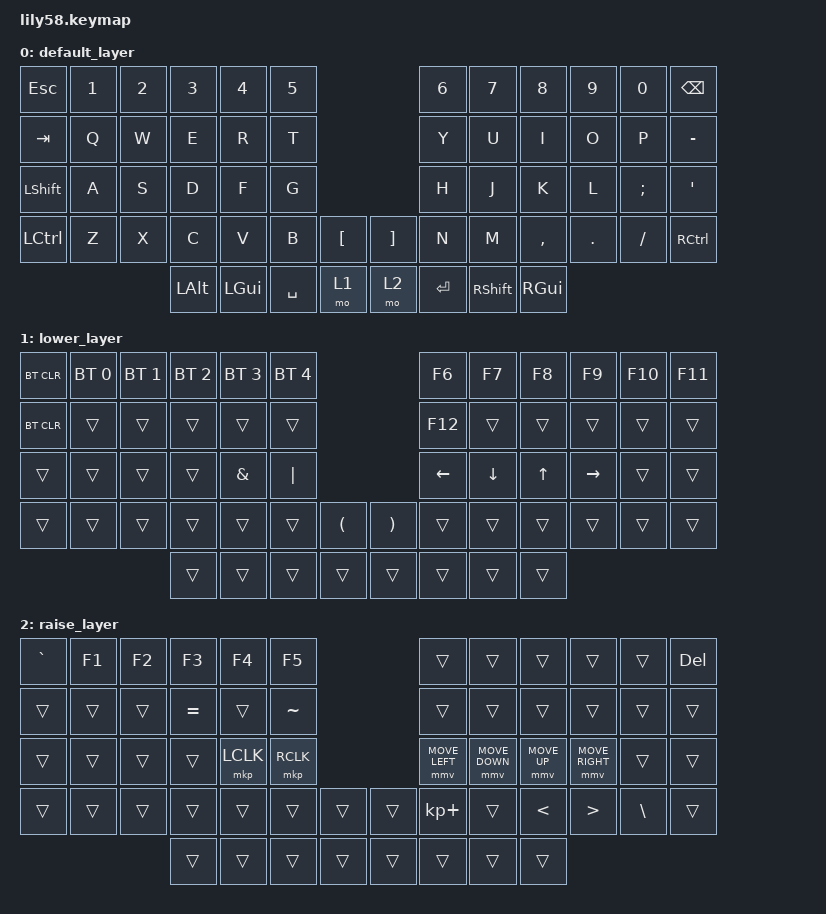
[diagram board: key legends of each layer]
#include <behaviors.dtsi>
#include <dt-bindings/zmk/bt.h>
#include <dt-bindings/zmk/keys.h>
#include <dt-bindings/zmk/pointing.h>

/ {
    combos {
        compatible = "zmk,combos";

        language_switch {
            bindings = <&lang_switch>;
            key-positions = <53 54>;
        };
    };

    macros {
        lang_switch: lang_switch {
            compatible = "zmk,behavior-macro";
            #binding-cells = <0>;
            bindings =
                <&kt LALT>,
                <&macro_wait_time 30>,
                <&kp LSHIFT>,
                <&macro_wait_time 50>,
                <&kt LALT>;

            label = "LANG_SWITCH";
        };
    };

    keymap {
        compatible = "zmk,keymap";
        bindings = <
&kp ESC   &kp N1 &kp N2 &kp N3   &kp N4   &kp N5                        &kp N6     &kp N7   &kp N8    &kp N9  &kp N0   &kp GRAVE
&kp TAB   &kp Q  &kp W  &kp E    &kp R    &kp T                         &kp Y      &kp U    &kp I     &kp O   &kp P    &kp MINUS
&kp LSHFT &kp A  &kp S  &kp D    &kp F    &kp G                         &kp H      &kp J    &kp K     &kp L   &kp SEMI &kp SQT
&kp LCTRL &kp Z  &kp X  &kp C    &kp V    &kp B      &kp LBKT  &kp RBKT &kp N      &kp M    &kp COMMA &kp DOT &kp FSLH &mo 2
                        &kp LALT &kp LGUI &kp SPACE  &mo 1     &kp RET  &kp RSHIFT &kp BSPC &kp RGUI
        >;

        default_layer {
            bindings = <
&kp ESCAPE  &kp N1  &kp N2  &kp N3    &kp N4    &kp N5                           &kp N6   &kp N7      &kp N8     &kp N9   &kp N0    &kp BSPC
&kp TAB     &kp Q   &kp W   &kp E     &kp R     &kp T                            &kp Y    &kp U       &kp I      &kp O    &kp P     &kp MINUS
&kp LSHFT   &kp A   &kp S   &kp D     &kp F     &kp G                            &kp H    &kp J       &kp K      &kp L    &kp SEMI  &kp SQT
&kp LCTRL   &kp Z   &kp X   &kp C     &kp V     &kp B      &kp LBKT    &kp RBKT  &kp N    &kp M       &kp COMMA  &kp DOT  &kp FSLH  &kp RCTRL
                            &kp LALT  &kp LGUI  &kp SPACE  &mo 1       &mo 2     &kp RET  &kp RSHIFT  &kp RGUI
            >;
        };

        lower_layer {
            bindings = <
&bt BT_CLR  &bt BT_SEL 0  &bt BT_SEL 1  &bt BT_SEL 2  &bt BT_SEL 3  &bt BT_SEL 4                                                 &kp F6    &kp F7    &kp F8  &kp F9     &kp F10  &kp F11
&bt BT_CLR  &trans        &trans        &trans        &trans        &trans                                                       &kp F12   &trans    &trans  &trans     &trans   &trans
&trans      &trans        &trans        &trans        &kp AMPS      &kp PIPE                                                     &kp LEFT  &kp DOWN  &kp UP  &kp RIGHT  &trans   &trans
&trans      &trans        &trans        &trans        &trans        &trans        &kp LEFT_PARENTHESIS    &kp RIGHT_PARENTHESIS  &trans    &trans    &trans  &trans     &trans   &trans
                                        &trans        &trans        &trans        &trans                  &trans                 &trans    &trans    &trans
            >;
        };

        raise_layer {
            bindings = <
&kp GRAVE  &kp F1  &kp F2  &kp F3     &kp F4     &kp F5                       &trans          &trans          &trans         &trans            &trans    &kp DEL
&trans     &trans  &trans  &kp EQUAL  &trans     &kp TILDE                    &trans          &trans          &trans         &trans            &trans    &trans
&trans     &trans  &trans  &trans     &mkp LCLK  &mkp RCLK                    &mmv MOVE_LEFT  &mmv MOVE_DOWN  &mmv MOVE_UP   &mmv MOVE_RIGHT   &trans    &trans
&trans     &trans  &trans  &trans     &trans     &trans     &trans    &trans  &kp KP_PLUS     &trans          &kp LESS_THAN  &kp GREATER_THAN  &kp BSLH  &trans
                           &trans     &trans     &trans     &trans    &trans  &trans          &trans          &trans
            >;
        };
    };
};
